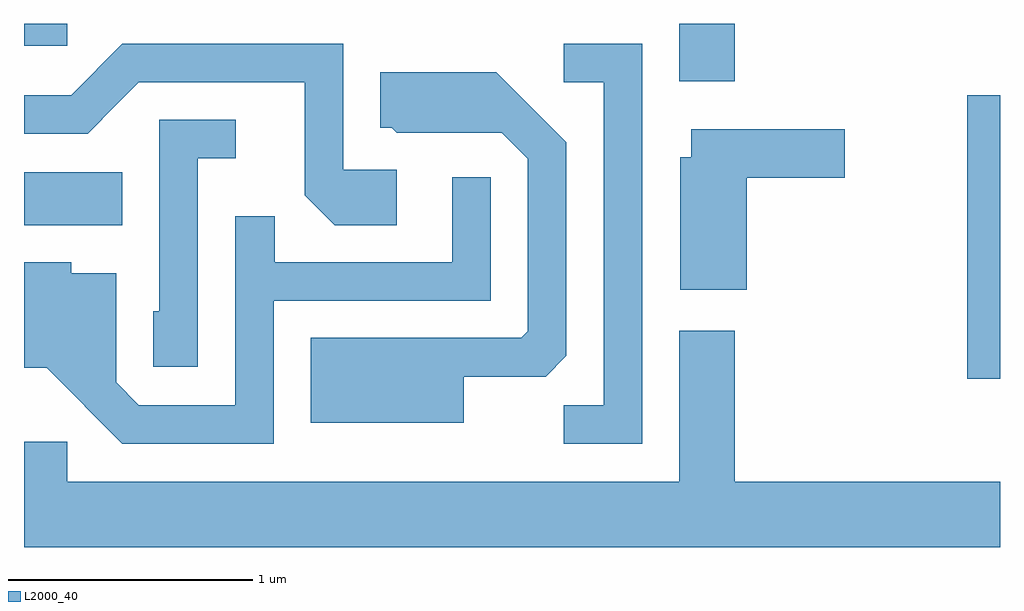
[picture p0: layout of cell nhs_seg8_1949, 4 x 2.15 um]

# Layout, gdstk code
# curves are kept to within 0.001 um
import gdstk
lib = gdstk.Library(unit=1e-6, precision=1e-09)
def R(c, l, rs):  # rectangles x0, y0, x1, y1
    for r in rs: c.add(gdstk.rectangle(r[:2], r[2:], *l))
def P(c, l, *ps):  # polygons
    for p in ps: c.add(gdstk.Polygon(p, *l))
L2000_40 = (2000, 40)

nhs_seg8_1949 = lib.new_cell('nhs_seg8_1949')
R(nhs_seg8_1949, L2000_40, [(247.476,1834.886,247.611,1836.049), (243.611,1835.516,244.014,1835.734), (246.296,1836.106,246.524,1836.342), (243.611,1836.251,243.789,1836.342)])
P(nhs_seg8_1949, L2000_40, [(245.139,1835.744),(244.919,1835.744),(244.919,1836.259),(244.014,1836.259),(243.804,1836.049),(243.611,1836.049),(243.611,1835.891),(243.872,1835.891),(244.082,1836.101),(244.761,1836.101),(244.761,1835.639),(244.884,1835.516),(245.139,1835.516)],
  [(246.144,1836.259),(245.823,1836.259),(245.823,1836.101),(245.986,1836.101),(245.986,1834.779),(245.823,1834.779),(245.823,1834.621),(246.144,1834.621)],
  [(245.414,1834.896),(245.749,1834.896),(245.834,1834.982),(245.834,1835.857),(245.547,1836.144),(245.071,1836.144),(245.071,1835.916),(245.119,1835.916),(245.139,1835.896),(245.569,1835.896),(245.676,1835.789),(245.676,1835.082),(245.649,1835.054),(244.786,1835.054),(244.786,1834.706),(245.414,1834.706)],
  [(244.324,1835.791),(244.478,1835.791),(244.478,1835.949),(244.166,1835.949),(244.166,1835.164),(244.141,1835.164),(244.141,1834.936),(244.324,1834.936)],
  [(246.574,1835.711),(246.974,1835.711),(246.974,1835.909),(246.346,1835.909),(246.346,1835.794),(246.301,1835.794),(246.301,1835.251),(246.574,1835.251)],
  [(244.634,1835.206),(245.524,1835.206),(245.524,1835.713),(245.366,1835.713),(245.366,1835.364),(244.639,1835.364),(244.639,1835.553),(244.476,1835.553),(244.476,1834.779),(244.082,1834.779),(243.989,1834.872),(243.989,1835.319),(243.804,1835.319),(243.804,1835.364),(243.611,1835.364),(243.611,1834.931),(243.704,1834.931),(244.014,1834.621),(244.634,1834.621)],
  [(247.611,1834.464),(246.524,1834.464),(246.524,1835.084),(246.296,1835.084),(246.296,1834.464),(243.789,1834.464),(243.789,1834.629),(243.611,1834.629),(243.611,1834.196),(247.611,1834.196)])

lib.write_gds('nhs_seg8_1949.gds')
